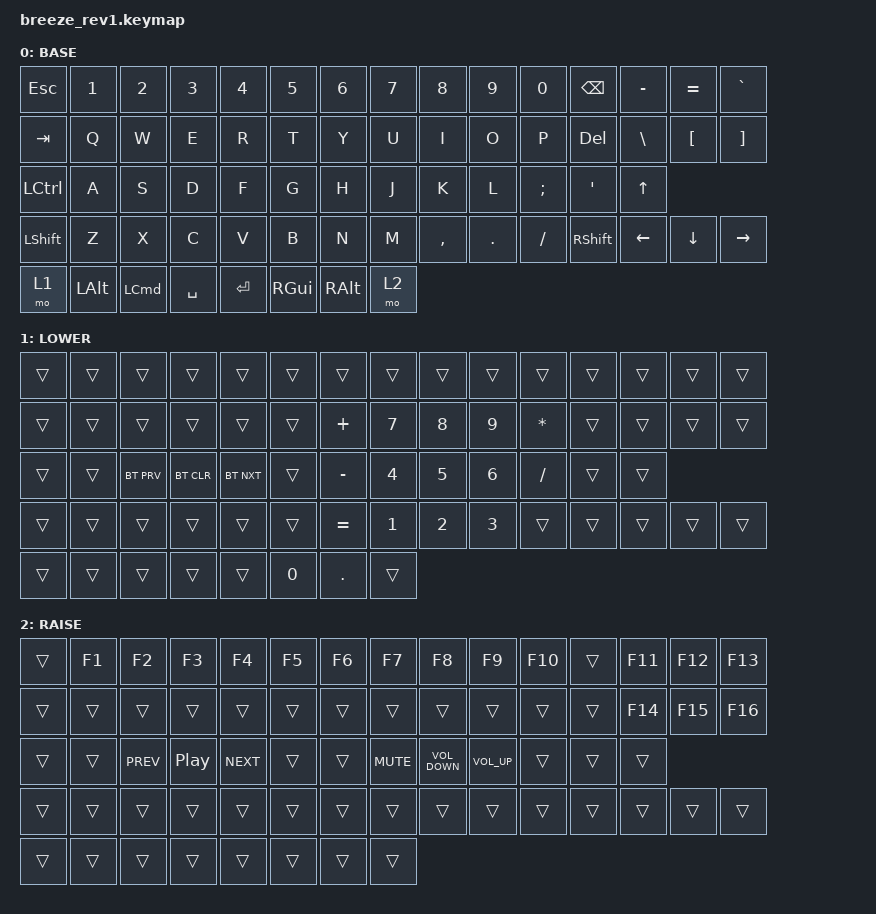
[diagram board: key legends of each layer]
/*
 * Copyright (c) 2022 The ZMK Contributors
 *
 * SPDX-License-Identifier: MIT
 */

#include <behaviors.dtsi>
#include <dt-bindings/zmk/bt.h>
#include <dt-bindings/zmk/keys.h>

/ {
    keymap {
        compatible = "zmk,keymap";

        BASE {
            // Ref: https://zmkfirmware.dev/docs/codes/
            // ---  MAIN  -----------------------------------------------------------------------------------------------------------------------
            // |    ESC    |     1     |     2     |     3      |      4      |      5     |                           |      6      |      7     |      8      |      9     |     0    |    BSPC    | |    -/_    |     =/+     |    GRAVE    |
            // |    TAB    |     Q     |     W     |     E      |      R      |      T     |                           |      Y      |      U     |      I      |      O     |     P    |    DEL     | |     \     |      [      |      ]      |
            // |   LCTRL   |     A     |     S     |     D      |      F      |      G     |                           |      H      |      J     |      K      |      L     |     ;    |     '      | |           |      UP     |             |
            // |   SHIFT   |     Z     |     X     |     C      |      V      |      B     |                           |      N      |      M     |      ,      |      .     |     /    |   RSHIFT   | |     L     |      DN     |      R      |
            //                                     |   NUMPAD   |     LALT    |    LCMD    |   SPACE    |  |   ENTER   |   FUNCTION  |  MACOS APP |  MACOS LANG |

            bindings = <
&kp ESC    &kp N1    &kp N2    &kp N3     &kp N4   &kp N5         &kp N6         &kp N7  &kp N8     &kp N9   &kp N0    &kp BSPC    &kp MINUS  &kp EQUAL  &kp GRAVE
&kp TAB    &kp Q     &kp W     &kp E      &kp R    &kp T          &kp Y          &kp U   &kp I      &kp O    &kp P     &kp DEL     &kp BSLH   &kp LBKT   &kp RBKT
&kp LCTRL  &kp A     &kp S     &kp D      &kp F    &kp G          &kp H          &kp J   &kp K      &kp L    &kp SEMI  &kp APOS    &kp UP
&kp LSHFT  &kp Z     &kp X     &kp C      &kp V    &kp B          &kp N          &kp M   &kp COMMA  &kp DOT  &kp FSLH  &kp RSHIFT  &kp LEFT   &kp DOWN   &kp RIGHT
&mo 1      &kp LALT  &kp LCMD  &kp SPACE  &kp RET  &kp RIGHT_GUI  &kp RIGHT_ALT  &mo 2
            >;
        };

        LOWER {
            // ---  NUMPAD  -------------------------------------------------------------------------------------------------------------------
            // |           |           |           |            |             |            |                           |       =       |      /       |      *       |      -     |          |            | |           |             |             |
            // |           |           |           |            |             |            |                           |       7       |      8       |      9       |      +     |          |            | |           |             |             |
            // |           |           |           |            |             |            |                           |       4       |      5       |      6       |            |          |            | |           |             |             |
            // |           |           |           |            |             |            |                           |       1       |      2       |      3       |            |          |            | |           |             |             |
            //                                     |            |             |            |            |  |           |       0       |      .       |              |

            bindings = <
&trans  &trans  &trans      &trans      &trans      &trans  &trans     &trans        &trans        &trans        &trans        &trans  &trans  &trans  &trans
&trans  &trans  &trans      &trans      &trans      &trans  &kp PLUS   &kp NUMBER_7  &kp N8        &kp N9        &kp ASTERISK  &trans  &trans  &trans  &trans
&trans  &trans  &bt BT_PRV  &bt BT_CLR  &bt BT_NXT  &trans  &kp MINUS  &kp NUMBER_4  &kp N5        &kp NUMBER_6  &kp SLASH     &trans  &trans
&trans  &trans  &trans      &trans      &trans      &trans  &kp EQUAL  &kp N1        &kp NUMBER_2  &kp NUMBER_3  &trans        &trans  &trans  &trans  &trans
&trans  &trans  &trans      &trans      &trans      &kp N0  &kp DOT    &trans
            >;
        };

        RAISE {
            bindings = <
&trans  &kp F1  &kp F2      &kp F3            &kp F4      &kp F5  &kp F6  &kp F7      &kp F8             &kp F9           &kp F10  &trans  &kp F11  &kp F12  &kp F13
&trans  &trans  &trans      &trans            &trans      &trans  &trans  &trans      &trans             &trans           &trans   &trans  &kp F14  &kp F15  &kp F16
&trans  &trans  &kp C_PREV  &kp C_PLAY_PAUSE  &kp C_NEXT  &trans  &trans  &kp K_MUTE  &kp C_VOLUME_DOWN  &kp C_VOLUME_UP  &trans   &trans  &trans
&trans  &trans  &trans      &trans            &trans      &trans  &trans  &trans      &trans             &trans           &trans   &trans  &trans   &trans   &trans
&trans  &trans  &trans      &trans            &trans      &trans  &trans  &trans
            >;
        };
    };
};
